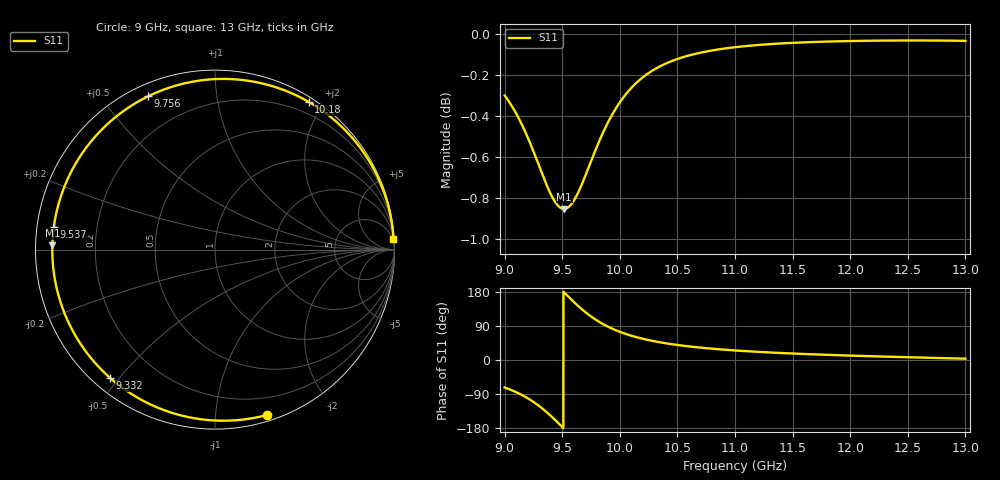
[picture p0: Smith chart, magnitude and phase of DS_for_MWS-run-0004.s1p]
! TOUCHSTONE file generated by CST DESIGN STUDIO
! Date and time: Tue Feb  4 17:08:04 2025
! Project name: C:\Work\MatlabApps\UnitCellOptimizationMatlab\CST\unitcell.cst
! Tree item: Tasks\Sweep1\SPara1\S-Parameters
! Header version: 2024
! Port assignment regex: !\s*Touchstone port\s*([0-9]+)\s*=\s*(CST MWS port|CST DES external port|CST DES block port)\s*(.+)\s* \(\"(.*)\"\)(\s*mode\s*([0-9]+))?.*
! Touchstone port assignment:
! Touchstone port 1 = CST DES external port 1 ("")
# GHz S MA R 50
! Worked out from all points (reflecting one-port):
!   4001 points, 9 GHz to 13 GHz, reference 50 ohm
!   lowest |S11| = -0.9 dB at 9.516 GHz (marker M1), VSWR 20.39, Z = 2.45 + j0.674 ohm
!   phase of S11 starts at -73 deg and turns -284 deg over the sweep
!   S11 on the Smith chart (normalised r, x): 9 GHz: 0.05, -1.36; 9.332 GHz: 0.05, -0.47; 9.537 GHz: 0.05, +0.07; 9.756 GHz: 0.05, +0.65; 10.18 GHz: 0.06, +1.82; 13 GHz: 2, +32
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9  0.966 -72.5
9.089  0.9575 -83.3
9.193  0.9446 -99.6
9.266  0.9338 -113.9
9.332  0.9235 -129.2
9.377  0.917 -140.8
9.424  0.9114 -154.0
9.463  0.9082 -165.5
9.5  0.9067 -176.7
9.516  0.9065 178.5
9.537  0.9068 172.1
9.591  0.9099 155.9
9.651  0.9165 139.1
9.703  0.9238 125.8
9.756  0.9319 113.6
9.807  0.9395 103.2
9.862  0.9471 93.5
10  0.9623 74.3
10.085  0.969 65.5
10.178  0.9747 57.6
10.325  0.981 48.0
10.5  0.9859 39.6
10.722  0.9897 32.0
11  0.9924 25.2
11.5  0.9948 17.1
12  0.9958 11.6
12.5  0.9962 7.3
13  0.9959 3.5
